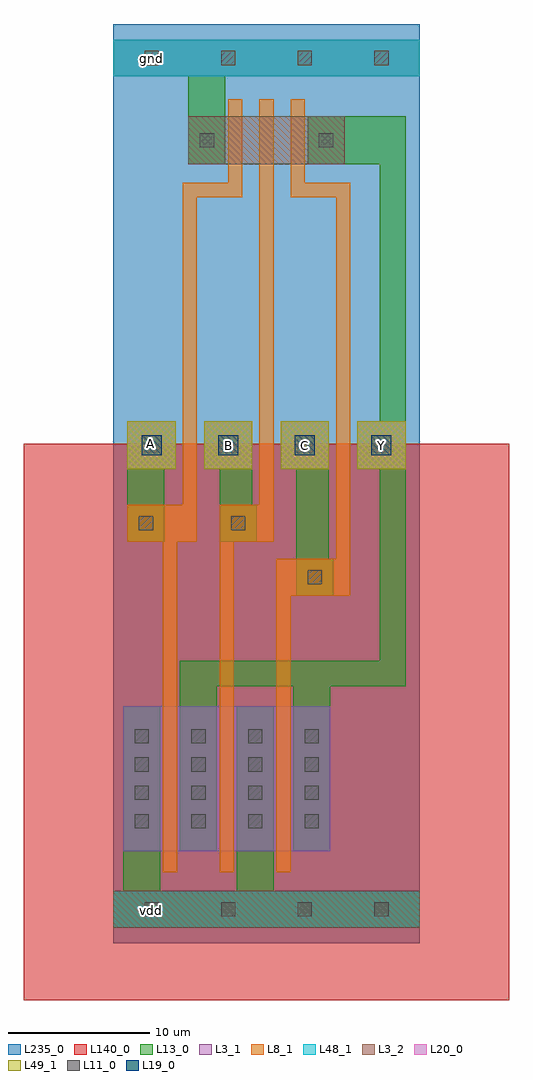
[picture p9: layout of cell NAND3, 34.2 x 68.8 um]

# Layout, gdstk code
import gdstk
lib = gdstk.Library(unit=1e-6, precision=1e-09)
def R(c, l, rs):  # rectangles x0, y0, x1, y1
    for r in rs: c.add(gdstk.rectangle(r[:2], r[2:], *l))
def A(c, l, x, y, w, h, nx, ny, dx, dy):  # array of equal rectangles
    R(c, l, [(x+i*dx, y+j*dy, x+i*dx+w, y+j*dy+h) for i in range(nx) for j in range(ny)])
def P(c, l, *ps):  # polygons
    for p in ps: c.add(gdstk.Polygon(p, *l))
L3_1 = (3, 1)
L3_2 = (3, 2)
L8_1 = (8, 1)
L11_0 = (11, 0)
L13_0 = (13, 0)
L19_0 = (19, 0)
L20_0 = (20, 0)
L48_1 = (48, 1)
L49_1 = (49, 1)
L140_0 = (140, 0)
L235_0 = (235, 0)

nand3 = lib.new_cell('NAND3')
R(nand3, L3_1, [(0.7,-58.3,7.3,-48.1), (4.7,-58.3,11.3,-48.1), (11.3,-58.3,15.3,-48.1), (0,-3.7,21.6,-1.1)])
R(nand3, L3_2, [(0,-63.7,21.6,-61.1), (5.3,-9.9,16.3,-6.5)])
P(nand3, L8_1, [(11.5,-59.8),(11.5,-37.7),(15.7,-37.7),(15.7,-12.2),(12.5,-12.2),(12.5,-5.3),(13.5,-5.3),(13.5,-11.2),(16.7,-11.2),(16.7,-40.3),(12.5,-40.3),(12.5,-59.8)],
  [(7.5,-59.8),(7.5,-33.9),(10.3,-33.9),(10.3,-5.3),(11.3,-5.3),(11.3,-36.5),(8.5,-36.5),(8.5,-59.8)],
  [(3.5,-59.8),(3.5,-36.5),(1,-36.5),(1,-33.9),(4.9,-33.9),(4.9,-11.2),(8.1,-11.2),(8.1,-5.3),(9.1,-5.3),(9.1,-12.2),(5.9,-12.2),(5.9,-36.5),(4.5,-36.5),(4.5,-59.8)])
A(nand3, L11_0, 1.5, -56.7, 1, 1, 4, 4, 4, 2)
R(nand3, L11_0, [(2.2,-62.9,3.2,-61.9), (2.2,-62.9,3.2,-61.9), (7.6,-62.9,8.6,-61.9), (7.6,-62.9,8.6,-61.9), (7.6,-62.9,8.6,-61.9), (7.6,-62.9,8.6,-61.9), (13,-62.9,14,-61.9), (13,-62.9,14,-61.9), (18.4,-62.9,19.4,-61.9), (13.7,-39.5,14.7,-38.5), (1.8,-35.7,2.8,-34.7), (8.3,-35.7,9.3,-34.7), (6.1,-8.7,7.1,-7.7), (14.5,-8.7,15.5,-7.7), (2.2,-2.9,3.2,-1.9), (7.6,-2.9,8.6,-1.9), (7.6,-2.9,8.6,-1.9), (13,-2.9,14,-1.9), (13,-2.9,14,-1.9), (18.4,-2.9,19.4,-1.9)])
R(nand3, L13_0, [(0,-63.7,21.6,-61.1), (0.7,-61.1,3.3,-48.1), (8.7,-61.1,11.3,-48.1), (4.7,-58.3,7.3,-44.9), (12.7,-58.3,15.3,-44.9), (4.7,-46.7,12.7,-44.9), (1,-36.5,3.6,-31.4), (1,-31.4,4.4,-28), (1,-31.4,4.4,-28), (6.4,-31.4,9.8,-28), (6.4,-31.4,9.8,-28), (11.8,-31.4,15.2,-28), (11.8,-31.4,15.2,-28), (17.2,-31.4,20.6,-28), (5.3,-9.9,7.9,-3.7), (0,-3.7,21.6,-1.1)])
P(nand3, L13_0, [(15.3,-46.7),(15.3,-44.9),(18.8,-44.9),(18.8,-31.4),(17.2,-31.4),(17.2,-28),(18.8,-28),(18.8,-9.9),(13.7,-9.9),(13.7,-6.5),(20.6,-6.5),(20.6,-46.7)],
  [(12.9,-40.3),(12.9,-31.4),(15.2,-31.4),(15.2,-37.7),(15.5,-37.7),(15.5,-40.3)],
  [(7.5,-36.5),(7.5,-31.4),(9.8,-31.4),(9.8,-33.9),(10.1,-33.9),(10.1,-36.5)])
A(nand3, L19_0, 2, -30.4, 1.4, 1.4, 4, 1, 5.4, 0)
A(nand3, L20_0, 1, -31.4, 3.4, 3.4, 4, 1, 5.4, 0)
R(nand3, L48_1, [(0,-63.7,21.6,-61.1), (0,-3.7,21.6,-1.1)])
A(nand3, L49_1, 1, -31.4, 3.4, 3.4, 4, 1, 5.4, 0)
R(nand3, L140_0, [(-6.3,-68.8,27.9,-29.6)])
R(nand3, L235_0, [(0,-64.8,21.6,0)])
nand3.add(gdstk.Label('gnd', (2.7,-2.4), layer=48, texttype=0))
nand3.add(gdstk.Label('vdd', (2.7,-62.5), layer=48, texttype=0))
nand3.add(gdstk.Label('Y', (18.9,-29.7), layer=49, texttype=0))
nand3.add(gdstk.Label('C', (13.5,-29.7), layer=49, texttype=0))
nand3.add(gdstk.Label('A', (2.6,-29.6), layer=49, texttype=0))
nand3.add(gdstk.Label('B', (8.1,-29.7), layer=49, texttype=0))

lib.write_gds('NAND3.gds')
